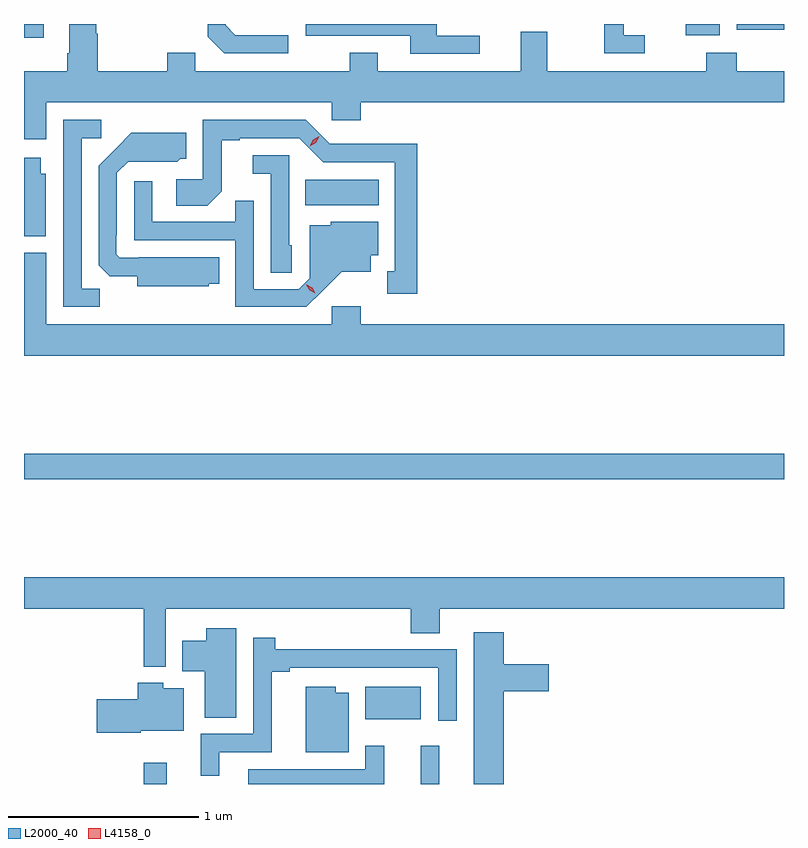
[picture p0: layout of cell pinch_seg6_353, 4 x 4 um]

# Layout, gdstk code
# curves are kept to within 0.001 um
import gdstk
lib = gdstk.Library(unit=1e-6, precision=1e-09)
def R(c, l, rs):  # rectangles x0, y0, x1, y1
    for r in rs: c.add(gdstk.rectangle(r[:2], r[2:], *l))
def P(c, l, *ps):  # polygons
    for p in ps: c.add(gdstk.Polygon(p, *l))
L2000_40 = (2000, 40)
L4158_0 = (4158, 0)

pinch_seg6_353 = lib.new_cell('pinch_seg6_353')
R(pinch_seg6_353, L2000_40, [(682.86,949.077,682.981,949.189), (684.317,949.077,684.416,949.279), (684.026,949.418,684.319,949.588), (682.23,950.68,686.23,950.816), (683.71,952.124,684.097,952.258), (682.23,953.004,682.333,953.077), (685.712,953.018,685.891,953.077), (685.98,953.047,686.23,953.077)])
P(pinch_seg6_353, L2000_40, [(685.498,953.019),(685.387,953.019),(685.387,953.077),(685.283,953.077),(685.283,952.923),(685.498,952.923)],
  [(684.628,953.016),(684.403,953.016),(684.403,953.077),(683.712,953.077),(683.712,953.016),(684.263,953.016),(684.263,952.92),(684.628,952.92)],
  [(682.348,952.664),(683.85,952.664),(683.85,952.571),(684.002,952.571),(684.002,952.664),(686.23,952.664),(686.23,952.828),(685.982,952.828),(685.982,952.927),(685.822,952.927),(685.822,952.828),(684.985,952.828),(684.985,953.036),(684.845,953.036),(684.845,952.828),(684.091,952.828),(684.091,952.927),(683.944,952.927),(683.944,952.828),(683.13,952.828),(683.13,952.927),(682.984,952.927),(682.984,952.828),(682.617,952.828),(682.617,953.027),(682.609,953.027),(682.609,953.077),(682.469,953.077),(682.469,952.924),(682.457,952.924),(682.457,952.828),(682.23,952.828),(682.23,952.47),(682.348,952.47)],
  [(683.62,953.019),(683.343,953.019),(683.292,953.07),(683.292,953.077),(683.196,953.077),(683.196,953.01),(683.283,952.923),(683.62,952.923)],
  [(682.629,951.683),(682.533,951.683),(682.533,952.476),(682.636,952.476),(682.636,952.572),(682.437,952.572),(682.437,951.588),(682.629,951.588)],
  [(684.301,952.448),(684.06,952.448),(684.06,952.446),(683.838,952.446),(683.712,952.572),(683.172,952.572),(683.172,952.26),(683.031,952.26),(683.031,952.12),(683.195,952.12),(683.271,952.196),(683.271,952.464),(683.365,952.464),(683.365,952.476),(683.679,952.476),(683.805,952.35),(684.182,952.35),(684.182,951.777),(684.143,951.777),(684.143,951.657),(684.301,951.657)],
  [(683.202,951.71),(683.258,951.71),(683.258,951.85),(682.834,951.85),(682.834,951.846),(682.734,951.846),(682.716,951.864),(682.716,951.964),(682.719,951.964),(682.719,952.293),(682.779,952.353),(683.036,952.352),(683.052,952.368),(683.083,952.368),(683.083,952.504),(682.795,952.504),(682.623,952.33),(682.623,951.808),(682.682,951.749),(682.826,951.749),(682.826,951.698),(683.202,951.698)],
  [(683.64,951.912),(683.625,951.912),(683.625,952.386),(683.433,952.386),(683.433,952.289),(683.529,952.289),(683.529,951.769),(683.64,951.769)],
  [(682.345,952.29),(682.318,952.29),(682.318,952.372),(682.23,952.372),(682.23,951.959),(682.345,951.959)],
  [(683.8,951.671),(683.903,951.773),(684.055,951.773),(684.055,951.86),(684.094,951.86),(684.094,952.036),(683.844,952.036),(683.844,952.018),(683.733,952.018),(683.733,951.738),(683.676,951.681),(683.439,951.681),(683.439,952.148),(683.341,952.148),(683.341,952.035),(682.905,952.035),(682.905,952.249),(682.809,952.249),(682.809,951.939),(683.343,951.939),(683.343,951.588),(683.716,951.588)],
  [(686.23,951.496),(684.002,951.496),(684.002,951.592),(683.85,951.592),(683.85,951.496),(682.348,951.496),(682.348,951.874),(682.23,951.874),(682.23,951.332),(686.23,951.332)],
  [(682.977,950),(684.266,950),(684.266,949.87),(684.418,949.87),(684.418,950),(686.23,950),(686.23,950.164),(682.23,950.164),(682.23,950),(682.861,950),(682.861,949.694),(682.977,949.694)],
  [(683.347,949.897),(683.189,949.897),(683.189,949.831),(683.062,949.831),(683.062,949.67),(683.18,949.67),(683.18,949.426),(683.347,949.426)],
  [(684.755,949.565),(684.991,949.565),(684.991,949.707),(684.755,949.707),(684.755,949.876),(684.596,949.876),(684.596,949.077),(684.755,949.077)],
  [(683.257,949.245),(683.534,949.245),(683.534,949.669),(683.629,949.669),(683.629,949.689),(684.411,949.689),(684.411,949.41),(684.507,949.41),(684.507,949.785),(684.182,949.785),(684.182,949.787),(683.552,949.787),(683.552,949.846),(683.436,949.846),(683.436,949.341),(683.159,949.341),(683.159,949.121),(683.257,949.121)],
  [(682.845,949.358),(683.071,949.358),(683.071,949.582),(682.962,949.582),(682.962,949.609),(682.829,949.609),(682.829,949.524),(682.614,949.524),(682.614,949.346),(682.845,949.346)],
  [(683.938,949.558),(683.872,949.558),(683.872,949.588),(683.714,949.588),(683.714,949.244),(683.938,949.244)],
  [(684.125,949.279),(684.027,949.279),(684.027,949.155),(683.411,949.155),(683.411,949.077),(684.125,949.077)])
P(pinch_seg6_353, L4158_0, [(683.734,952.434),(683.734,952.434),(683.752,952.467),(683.783,952.486),(683.783,952.486),(683.783,952.486),(683.766,952.453),(683.735,952.434)],
  [(683.764,951.66),(683.734,951.675),(683.716,951.704),(683.716,951.705),(683.717,951.705),(683.747,951.69),(683.764,951.66),(683.764,951.66)])

lib.write_gds('pinch_seg6_353.gds')
